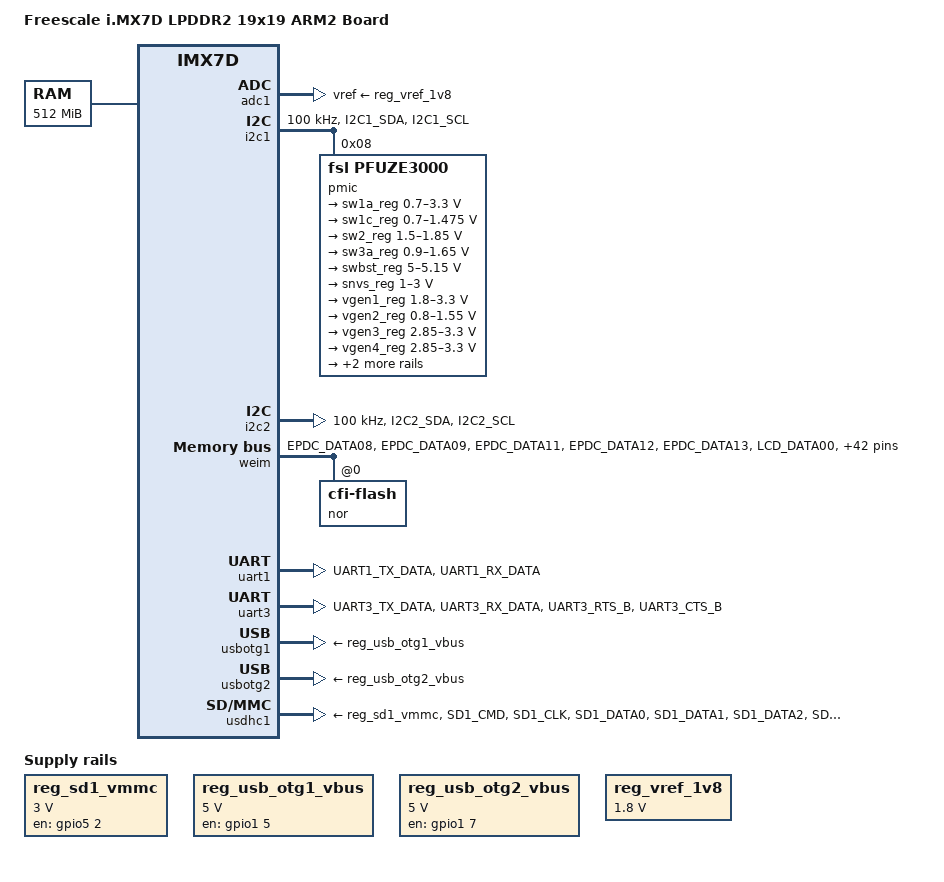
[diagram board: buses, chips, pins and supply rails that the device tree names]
/*
 * Copyright (C) 2015 Freescale Semiconductor, Inc.
 *
 * This program is free software; you can redistribute it and/or modify
 * it under the terms of the GNU General Public License version 2 as
 * published by the Free Software Foundation.
 */

/dts-v1/;

#include <dt-bindings/input/input.h>
#include "imx7d.dtsi"

/ {
	model = "Freescale i.MX7D LPDDR2 19x19 ARM2 Board";
	compatible = "fsl,imx7d-19x19-lpddr2-arm2", "fsl,imx7d";

	gpio-keys {
		compatible = "gpio-keys";
		pinctrl-names = "default";
		pinctrl-0 = <&pinctrl_gpio_keys>;
		status = "disabled";

		volume-up {
			label = "Volume Up";
			gpios = <&gpio1 14 GPIO_ACTIVE_LOW>;
			linux,code = <KEY_VOLUMEUP>;
		};

		volume-down {
			label = "Volume Down";
			gpios = <&gpio1 15 GPIO_ACTIVE_LOW>;
			linux,code = <KEY_VOLUMEDOWN>;
		};
	};

	regulators {
		compatible = "simple-bus";
		#address-cells = <1>;
		#size-cells = <0>;

		reg_sd1_vmmc: sd1_vmmc {
			compatible = "regulator-fixed";
			regulator-name = "VCC_SD1";
			regulator-min-microvolt = <3000000>;
			regulator-max-microvolt = <3000000>;
			gpio = <&gpio5 2 GPIO_ACTIVE_HIGH>;
			enable-active-high;
		};

		reg_usb_otg1_vbus: regulator@0 {
			compatible = "regulator-fixed";
			reg = <0>;
			regulator-name = "usb_otg1_vbus";
			regulator-min-microvolt = <5000000>;
			regulator-max-microvolt = <5000000>;
			gpio = <&gpio1 5 GPIO_ACTIVE_HIGH>;
			enable-active-high;
		};

		reg_usb_otg2_vbus: regulator@1 {
			compatible = "regulator-fixed";
			reg = <1>;
			regulator-name = "usb_otg2_vbus";
			regulator-min-microvolt = <5000000>;
			regulator-max-microvolt = <5000000>;
			gpio = <&gpio1 7 GPIO_ACTIVE_HIGH>;
			enable-active-high;
		};

		reg_vref_1v8: regulator@2 {
			compatible = "regulator-fixed";
			regulator-name = "vref-1v8";
			regulator-min-microvolt = <1800000>;
			regulator-max-microvolt = <1800000>;
		};
	};

	memory {
		reg = <0x80000000 0x20000000>;
	};
};

&adc1 {
	vref-supply = <&reg_vref_1v8>;
	status = "okay";
};

&cpu0 {
	arm-supply = <&sw1a_reg>;
};

&i2c1 {
	clock-frequency = <100000>;
	pinctrl-names = "default";
	pinctrl-0 = <&pinctrl_i2c1_1>;
	status = "okay";

	pmic: pfuze3000@08 {
		compatible = "fsl,pfuze3000";
		reg = <0x08>;

		regulators {
			sw1a_reg: sw1a {
				regulator-min-microvolt = <700000>;
				regulator-max-microvolt = <3300000>;
				regulator-boot-on;
				regulator-always-on;
				regulator-ramp-delay = <6250>;
			};
			/* use sw1c_reg to align with pfuze100/pfuze200 */
			sw1c_reg: sw1b {
				regulator-min-microvolt = <700000>;
				regulator-max-microvolt = <1475000>;
				regulator-boot-on;
				regulator-always-on;
				regulator-ramp-delay = <6250>;
			};

			sw2_reg: sw2 {
				regulator-min-microvolt = <1500000>;
				regulator-max-microvolt = <1850000>;
				regulator-boot-on;
				regulator-always-on;
			};

			sw3a_reg: sw3 {
				regulator-min-microvolt = <900000>;
				regulator-max-microvolt = <1650000>;
				regulator-boot-on;
				regulator-always-on;
			};

			swbst_reg: swbst {
				regulator-min-microvolt = <5000000>;
				regulator-max-microvolt = <5150000>;
			};

			snvs_reg: vsnvs {
				regulator-min-microvolt = <1000000>;
				regulator-max-microvolt = <3000000>;
				regulator-boot-on;
				regulator-always-on;
			};

			vref_reg: vrefddr {
				regulator-boot-on;
				regulator-always-on;
			};

			vgen1_reg: vldo1 {
				regulator-min-microvolt = <1800000>;
				regulator-max-microvolt = <3300000>;
				regulator-always-on;
			};

			vgen2_reg: vldo2 {
				regulator-min-microvolt = <800000>;
				regulator-max-microvolt = <1550000>;
			};

			vgen3_reg: vccsd {
				regulator-min-microvolt = <2850000>;
				regulator-max-microvolt = <3300000>;
				regulator-always-on;
			};

			vgen4_reg: v33 {
				regulator-min-microvolt = <2850000>;
				regulator-max-microvolt = <3300000>;
				regulator-always-on;
			};

			vgen5_reg: vldo3 {
				regulator-min-microvolt = <1800000>;
				regulator-max-microvolt = <3300000>;
				regulator-always-on;
			};

			vgen6_reg: vldo4 {
				regulator-min-microvolt = <1800000>;
				regulator-max-microvolt = <3300000>;
				regulator-always-on;
			};
		};
	};
};

&i2c2 {
	clock-frequency = <100000>;
	pinctrl-names = "default";
	pinctrl-0 = <&pinctrl_i2c2_1>;
	status = "okay";
};

&iomuxc {
	pinctrl-names = "default";
	pinctrl-0 = <&pinctrl_hog_1>;

	imx7d-19x19-lpddr3-arm2 {
		pinctrl_hog_1: hoggrp-1 {
			fsl,pins = <
				MX7D_PAD_I2C4_SCL__GPIO4_IO14	   0x80000000

				MX7D_PAD_SD1_CD_B__GPIO5_IO0 		0x59
				MX7D_PAD_SD1_WP__GPIO5_IO1 			0x59
				MX7D_PAD_SD1_RESET_B__GPIO5_IO2 	0x59

				MX7D_PAD_GPIO1_IO14__GPIO1_IO14    	0x59
				MX7D_PAD_GPIO1_IO15__GPIO1_IO15    	0x59
			>;
		};

		pinctrl_gpio_keys: gpio_keysgrp {
			fsl,pins = <
				MX7D_PAD_GPIO1_IO14__GPIO1_IO14 0x32
				MX7D_PAD_GPIO1_IO15__GPIO1_IO15 0x32
			>;
		};

		pinctrl_gpmi_nand_1: gpmi-nand-1 {
			fsl,pins = <
				MX7D_PAD_SD3_CLK__NAND_CLE			0x71
				MX7D_PAD_SD3_CMD__NAND_ALE			0x71
				MX7D_PAD_SAI1_MCLK__NAND_WP_B		0x71
				MX7D_PAD_SAI1_TX_BCLK__NAND_CE0_B	0x71
				MX7D_PAD_SAI1_RX_DATA__NAND_CE1_B	0x71
				MX7D_PAD_SAI1_TX_DATA__NAND_READY_B	0x74
				MX7D_PAD_SD3_STROBE__NAND_RE_B		0x71
				MX7D_PAD_SD3_RESET_B__NAND_WE_B		0x71
				MX7D_PAD_SD3_DATA0__NAND_DATA00		0x71
				MX7D_PAD_SD3_DATA1__NAND_DATA01		0x71
				MX7D_PAD_SD3_DATA2__NAND_DATA02		0x71
				MX7D_PAD_SD3_DATA3__NAND_DATA03		0x71
				MX7D_PAD_SD3_DATA4__NAND_DATA04		0x71
				MX7D_PAD_SD3_DATA5__NAND_DATA05		0x71
				MX7D_PAD_SD3_DATA6__NAND_DATA06		0x71
				MX7D_PAD_SD3_DATA7__NAND_DATA07		0x71
			>;
		};

		pinctrl_i2c1_1: i2c1grp-1 {
			fsl,pins = <
				MX7D_PAD_I2C1_SDA__I2C1_SDA          0x4000007f
				MX7D_PAD_I2C1_SCL__I2C1_SCL          0x4000007f
			>;
		};

		pinctrl_i2c2_1: i2c2grp-1 {
			fsl,pins = <
				MX7D_PAD_I2C2_SDA__I2C2_SDA          0x4000007f
				MX7D_PAD_I2C2_SCL__I2C2_SCL          0x4000007f
			>;
		};

		pinctrl_weim_cs0_1: weim_cs0grp-1 {
			fsl,pins = <
				MX7D_PAD_EPDC_DATA10__EIM_CS0_B      0x71
			>;
		};

		pinctrl_weim_nor_1: weim_norgrp-1 {
			fsl,pins = <
				MX7D_PAD_EPDC_DATA08__EIM_OE         0x71
				MX7D_PAD_EPDC_DATA09__EIM_RW         0x71
				MX7D_PAD_EPDC_DATA11__EIM_BCLK       0x71
				MX7D_PAD_EPDC_DATA12__EIM_LBA_B      0x71
				MX7D_PAD_EPDC_DATA13__EIM_WAIT       0x75
				/* data */
				MX7D_PAD_LCD_DATA00__EIM_DATA0       0x7d
				MX7D_PAD_LCD_DATA01__EIM_DATA1       0x7d
				MX7D_PAD_LCD_DATA02__EIM_DATA2       0x7d
				MX7D_PAD_LCD_DATA03__EIM_DATA3       0x7d
				MX7D_PAD_LCD_DATA04__EIM_DATA4       0x7d
				MX7D_PAD_LCD_DATA05__EIM_DATA5       0x7d
				MX7D_PAD_LCD_DATA06__EIM_DATA6       0x7d
				MX7D_PAD_LCD_DATA07__EIM_DATA7       0x7d
				MX7D_PAD_LCD_DATA08__EIM_DATA8       0x7d
				MX7D_PAD_LCD_DATA09__EIM_DATA9       0x7d
				MX7D_PAD_LCD_DATA10__EIM_DATA10      0x7d
				MX7D_PAD_LCD_DATA11__EIM_DATA11      0x7d
				MX7D_PAD_LCD_DATA12__EIM_DATA12      0x7d
				MX7D_PAD_LCD_DATA13__EIM_DATA13      0x7d
				MX7D_PAD_LCD_DATA14__EIM_DATA14      0x7d
				MX7D_PAD_LCD_DATA15__EIM_DATA15      0x7d
				/* address */
				MX7D_PAD_EPDC_DATA00__EIM_AD0        0x71
				MX7D_PAD_EPDC_DATA01__EIM_AD1        0x71
				MX7D_PAD_EPDC_DATA02__EIM_AD2        0x71
				MX7D_PAD_EPDC_DATA03__EIM_AD3        0x71
				MX7D_PAD_EPDC_DATA04__EIM_AD4        0x71
				MX7D_PAD_EPDC_DATA05__EIM_AD5        0x71
				MX7D_PAD_EPDC_DATA06__EIM_AD6        0x71
				MX7D_PAD_EPDC_DATA07__EIM_AD7        0x71
				MX7D_PAD_EPDC_BDR1__EIM_AD8          0x71
				MX7D_PAD_EPDC_PWR_COM__EIM_AD9       0x71
				MX7D_PAD_EPDC_SDCLK__EIM_AD10        0x71
				MX7D_PAD_EPDC_SDLE__EIM_AD11         0x71
				MX7D_PAD_EPDC_SDOE__EIM_AD12         0x71
				MX7D_PAD_EPDC_SDSHR__EIM_AD13        0x71
				MX7D_PAD_EPDC_SDCE0__EIM_AD14        0x71
				MX7D_PAD_EPDC_SDCE1__EIM_AD15        0x71
				MX7D_PAD_EPDC_SDCE2__EIM_ADDR16      0x71
				MX7D_PAD_EPDC_SDCE3__EIM_ADDR17      0x71
				MX7D_PAD_EPDC_GDCLK__EIM_ADDR18      0x71
				MX7D_PAD_EPDC_GDOE__EIM_ADDR19       0x71
				MX7D_PAD_EPDC_GDRL__EIM_ADDR20       0x71
				MX7D_PAD_EPDC_GDSP__EIM_ADDR21       0x71
				MX7D_PAD_EPDC_BDR0__EIM_ADDR22       0x71
				MX7D_PAD_LCD_DATA20__EIM_ADDR23      0x71
				MX7D_PAD_LCD_DATA21__EIM_ADDR24      0x71
				MX7D_PAD_LCD_DATA22__EIM_ADDR25      0x71
			>;
		};

		pinctrl_uart1_1: uart1grp-1 {
			fsl,pins = <
				MX7D_PAD_UART1_TX_DATA__UART1_DCE_TX 0x79
				MX7D_PAD_UART1_RX_DATA__UART1_DCE_RX 0x79
			>;
		};

		pinctrl_uart3_1: uart3grp-1 {
			fsl,pins = <
				MX7D_PAD_UART3_TX_DATA__UART3_DCE_TX	0x79
				MX7D_PAD_UART3_RX_DATA__UART3_DCE_RX	0x79
				MX7D_PAD_UART3_CTS_B__UART3_DCE_CTS		0x79
				MX7D_PAD_UART3_RTS_B__UART3_DCE_RTS		0x79
			>;
		};

		pinctrl_uart3dte_1: uart3dtegrp-1 {
			fsl,pins = <
				MX7D_PAD_UART3_TX_DATA__UART3_DTE_RX	0x79
				MX7D_PAD_UART3_RX_DATA__UART3_DTE_TX	0x79
				MX7D_PAD_UART3_RTS_B__UART3_DTE_CTS		0x79
				MX7D_PAD_UART3_CTS_B__UART3_DTE_RTS		0x79
			>;
		};

		pinctrl_usdhc1: usdhc1grp {
			fsl,pins = <
				MX7D_PAD_SD1_CMD__SD1_CMD       0x59
				MX7D_PAD_SD1_CLK__SD1_CLK       0x19
				MX7D_PAD_SD1_DATA0__SD1_DATA0   0x59
				MX7D_PAD_SD1_DATA1__SD1_DATA1   0x59
				MX7D_PAD_SD1_DATA2__SD1_DATA2   0x59
				MX7D_PAD_SD1_DATA3__SD1_DATA3   0x59
			>;
		};

		pinctrl_usdhc1_100mhz: usdhc1grp_100mhz {
			fsl,pins = <
				MX7D_PAD_SD1_CMD__SD1_CMD       0x5a
				MX7D_PAD_SD1_CLK__SD1_CLK       0x1a
				MX7D_PAD_SD1_DATA0__SD1_DATA0   0x5a
				MX7D_PAD_SD1_DATA1__SD1_DATA1   0x5a
				MX7D_PAD_SD1_DATA2__SD1_DATA2   0x5a
				MX7D_PAD_SD1_DATA3__SD1_DATA3   0x5a
			>;
		};

		pinctrl_usdhc1_200mhz: usdhc1grp_200mhz {
			fsl,pins = <
				MX7D_PAD_SD1_CMD__SD1_CMD       0x5b
				MX7D_PAD_SD1_CLK__SD1_CLK       0x1b
				MX7D_PAD_SD1_DATA0__SD1_DATA0   0x5b
				MX7D_PAD_SD1_DATA1__SD1_DATA1   0x5b
				MX7D_PAD_SD1_DATA2__SD1_DATA2   0x5b
				MX7D_PAD_SD1_DATA3__SD1_DATA3   0x5b
			>;
		};
	};
};

&iomuxc_lpsr {
	pinctrl-names = "default";
	pinctrl-0 = <&pinctrl_hog_2>;

	imx7d-19x19-lpddr3-arm2 {
		pinctrl_hog_2: hoggrp-2 {
			fsl,pins = <
				MX7D_PAD_GPIO1_IO03__GPIO1_IO3 0x14
				MX7D_PAD_GPIO1_IO05__GPIO1_IO5 0x14
				MX7D_PAD_GPIO1_IO07__GPIO1_IO7 0x14
			>;
		};
	};
};

&sdma {
	status = "okay";
};

&weim {
	pinctrl-names = "default";
	pinctrl-0 = <&pinctrl_weim_nor_1 &pinctrl_weim_cs0_1>;
	#address-cells = <2>;
	#size-cells = <1>;
	ranges = <0 0 0x28000000 0x08000000>;
	status = "okay";

	nor@0,0 {
		compatible = "cfi-flash";
		reg = <0 0 0x08000000>;
		#address-cells = <1>;
		#size-cells = <1>;
		bank-width = <2>;
		fsl,weim-cs-timing = <0x00610081 0x00000001 0x1c022000
				0x0000c000 0x1404a38e 0x00000000>;
	};
};

&uart1 {
	pinctrl-names = "default";
	pinctrl-0 = <&pinctrl_uart1_1>;
	assigned-clocks = <&clks IMX7D_UART1_ROOT_SRC>;
	assigned-clock-parents = <&clks IMX7D_OSC_24M_CLK>;
	status = "okay";
};

&uart3 {
	pinctrl-names = "default";
	pinctrl-0 = <&pinctrl_uart3_1>;
	fsl,uart-has-rtscts;
	assigned-clocks = <&clks IMX7D_UART3_ROOT_SRC>;
	assigned-clock-parents = <&clks IMX7D_PLL_SYS_MAIN_240M_CLK>;
	status = "okay";
	/* for DTE mode, add below change */
	/* fsl,dte-mode;*/
	pinctrl-0 = <&pinctrl_uart3dte_1>;
};

&usbotg1 {
	vbus-supply = <&reg_usb_otg1_vbus>;
	status = "okay";
};

&usbotg2 {
	vbus-supply = <&reg_usb_otg2_vbus>;
	status = "okay";
};

&usdhc1 {
	pinctrl-names = "default";
	pinctrl-0 = <&pinctrl_usdhc1>;
	cd-gpios = <&gpio5 0 GPIO_ACTIVE_LOW>;
	wp-gpios = <&gpio5 1 GPIO_ACTIVE_HIGH>;
	no-1-8-v;
	keep-power-in-suspend;
	enable-sdio-wakeup;
	vmmc-supply = <&reg_sd1_vmmc>;
	status = "okay";
};
